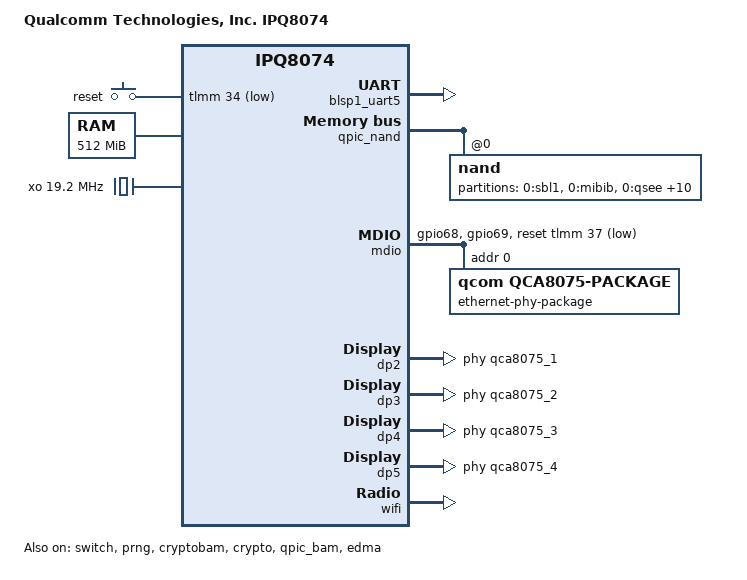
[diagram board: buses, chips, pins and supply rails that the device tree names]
// SPDX-License-Identifier: GPL-2.0-or-later OR MIT
/* Copyright (c) 2021, Robert Marko <robimarko@gmail.com> */

#include <dt-bindings/gpio/gpio.h>
#include <dt-bindings/input/input.h>

/ {
	#address-cells = <2>;
	#size-cells = <2>;

	model = "Qualcomm Technologies, Inc. IPQ8074";
	compatible = "qcom,ipq8074";
	interrupt-parent = <&intc>;

	aliases {
		serial0 = &blsp1_uart5;
		led-boot = &led_system_yellow;
		led-failsafe = &led_system_yellow;
		led-running = &led_system_blue;
		led-upgrade = &led_system_yellow;
		label-mac-device = &dp2;
	};

	chosen {
		stdout-path = "serial0:115200n8";
		bootargs-append = " ubi.mtd=rootfs root=/dev/ubiblock0_1 rootfstype=squashfs rootwait";
	};

	keys {
		compatible = "gpio-keys";
		reset {
			label = "reset";
			gpios = <&tlmm 34 GPIO_ACTIVE_LOW>;
			linux,code = <KEY_RESTART>;
		};
	};

	memory@40000000 {
		device_type = "memory";
		reg = <0x0 0x40000000 0x0 0x20000000>;
	};

	reserved-memory {
		#address-cells = <2>;
		#size-cells = <2>;
		ranges;

		nss_reserved: nss@40000000 {
			reg = <0x0 0x40000000 0x0 0x1000000>;
			no-map;
		};

		tzapp: tzapp@4a400000 {
			reg = <0x0 0x4a400000 0x0 0x100000>;
			no-map;
		};

		bootloader: bootloader@4a600000 {
			reg = <0x0 0x4a600000 0x0 0x400000>;
			no-map;
		};

		sbl: sbl@4aa00000 {
			reg = <0x0 0x4aa00000 0x0 0x100000>;
			no-map;
		};

		smem: smem@4ab00000 {
			reg = <0x0 0x4ab00000 0x0 0x100000>;
			no-map;
		};

		memory@4ac00000 {
			reg = <0x0 0x4ac00000 0x0 0x400000>;
			no-map;
		};

		wcnss: wcnss@4b000000 {
			reg = <0x0 0x4b000000 0x0 0x3700000>;
			no-map;
		};

		q6_etr_dump: q6_etr_dump@4e700000 {
			reg = <0x0 0x4e700000 0x0 0x100000>;
			no-map;
		};

		m3_dump: m3_dump@4e800000 {
			reg = <0x0 0x4e800000 0x0 0x100000>;
			no-map;
		};
	};

	cpus {
		#address-cells = <1>;
		#size-cells = <0>;

		cpu@0 {
			device_type = "cpu";
			compatible = "arm,cortex-a53";
			reg = <0x0>;
			enable-method = "psci";
			next-level-cache = <&L2_0>;
		};

		cpu@1 {
			device_type = "cpu";
			compatible = "arm,cortex-a53";
			reg = <0x1>;
			enable-method = "psci";
			next-level-cache = <&L2_0>;
		};

		cpu@2 {
			device_type = "cpu";
			compatible = "arm,cortex-a53";
			reg = <0x2>;
			enable-method = "psci";
			next-level-cache = <&L2_0>;
		};

		cpu@3 {
			device_type = "cpu";
			compatible = "arm,cortex-a53";
			reg = <0x3>;
			enable-method = "psci";
			next-level-cache = <&L2_0>;
		};

		L2_0: l2-cache {
			compatible = "cache";
			cache-level = <2>;
		};
	};

	psci {
		compatible = "arm,psci-1.0";
		method = "smc";
	};

	clocks {
		xo: xo {
			compatible = "fixed-clock";
			clock-frequency = <19200000>;
			#clock-cells = <0>;
		};

		sleep_clk: sleep_clk {
			compatible = "fixed-clock";
			clock-frequency = <32000>;
			#clock-cells = <0>;
		};
	};

	timer {
		compatible = "arm,armv8-timer";
		interrupts = <1 2 0xf08>,
			     <1 3 0xf08>,
			     <1 4 0xf08>,
			     <1 1 0xf08>;
	};

	soc: soc@0 {
		#address-cells = <1>;
		#size-cells = <1>;
		ranges = <0 0 0 0xffffffff>;
		compatible = "simple-bus";

		intc: interrupt-controller@b000000 {
			compatible = "qcom,msm-qgic2";
			interrupt-controller;
			#interrupt-cells = <3>;
			reg = <0x0b000000 0x1000>,
			      <0x0b002000 0x1000>;
		};

		timer@b120000 {
			compatible = "arm,armv7-timer-mem";
			#address-cells = <1>;
			#size-cells = <1>;
			ranges;
			reg = <0x0b120000 0x1000>;
			clock-frequency = <19200000>;

			frame@b120000 {
				frame-number = <0>;
				interrupts = <0 8 4>,
					     <0 7 4>;
				reg = <0x0b121000 0x1000>,
				      <0x0b122000 0x1000>;
			};
		};

		apcs_glb: mailbox@b111000 {
			compatible = "qcom,ipq6018-apcs-apps-global";
			reg = <0x0b111000 0x1000>;
			#clock-cells = <1>;
			clocks = <&xo>;
			clock-names = "xo";
		};

		blsp1_uart5: serial@78b3000 {
			compatible = "qcom,msm-uartdm-v1.4", "qcom,msm-uartdm";
			reg = <0x078b3000 0x200>;
			interrupts = <0 308 4>;
			clocks = <&gcc GCC_BLSP1_UART3_APPS_CLK>,
				 <&gcc GCC_BLSP1_AHB_CLK>;
			clock-names = "core", "iface";
			status = "disabled";
		};

		prng: rng@22000 {
			compatible = "qcom,prng";
			reg = <0x00022000 0x200>;
			clocks = <&gcc GCC_PRNG_AHB_CLK>;
			clock-names = "core";
			status = "disabled";
		};

		cryptobam: dma-controller@704000 {
			compatible = "qcom,bam-v1.7.0";
			reg = <0x00704000 0x20000>;
			interrupts = <0 207 4>;
			#dma-cells = <1>;
			qcom,ee = <1>;
			qcom,controlled-remotely;
			status = "disabled";
		};

		crypto: crypto@73a000 {
			compatible = "qcom,crypto-v5.1";
			reg = <0x0073a000 0x6000>;
			clocks = <&gcc GCC_CRYPTO_AHB_CLK>,
				 <&gcc GCC_CRYPTO_AXI_CLK>,
				 <&gcc GCC_CRYPTO_CLK>;
			clock-names = "iface", "bus", "core";
			dmas = <&cryptobam 2>, <&cryptobam 3>;
			dma-names = "rx", "tx";
			status = "disabled";
		};

		qpic_bam: dma-controller@7984000 {
			compatible = "qcom,bam-v1.7.0";
			reg = <0x07984000 0x1a000>;
			interrupts = <0 286 4>;
			#dma-cells = <1>;
			qcom,ee = <1>;
			qcom,controlled-remotely;
			status = "disabled";
		};

		qpic_nand: nand-controller@79b0000 {
			compatible = "qcom,ipq8074-nand";
			reg = <0x079b0000 0x10000>;
			#address-cells = <1>;
			#size-cells = <0>;
			clocks = <&gcc GCC_QPIC_CLK>,
				 <&gcc GCC_QPIC_AHB_CLK>;
			clock-names = "core", "aon";
			dmas = <&qpic_bam 0>,
			       <&qpic_bam 1>,
			       <&qpic_bam 2>;
			dma-names = "tx", "rx", "cmd";
			status = "disabled";
		};

		mdio: mdio@90000 {
			compatible = "qcom,ipq8074-mdio";
			reg = <0x00090000 0x64>;
			#address-cells = <1>;
			#size-cells = <0>;
			status = "disabled";
		};

		edma: edma@3a001000 {
			compatible = "qcom,ipq8074-edma";
			reg = <0x3a001000 0x8000>;
			reg-names = "edma";
			interrupts = <0 189 4>,
				     <0 190 4>,
				     <0 191 4>,
				     <0 192 4>;
			interrupt-names = "rx0", "rx1", "tx0", "tx1";
			clocks = <&gcc GCC_EDMA_CLK>,
				 <&gcc GCC_EDMA_AXI_CLK>;
			clock-names = "core", "axi";
			resets = <&gcc GCC_EDMA_RESET>;
			reset-names = "edma";
			status = "disabled";
		};

		ess-switch@3a000000 {
			compatible = "qcom,ipq8074-ess-switch";
			reg = <0x3a000000 0x1000000>;
			reg-names = "core";
			interrupts-extended = <&intc 0 188 4>;
			interrupt-names = "macirq";
			clocks = <&gcc GCC_CMN_12GPLL_AHB_CLK>,
				 <&gcc GCC_CMN_12GPLL_SYS_CLK>;
			clock-names = "ahb", "sys";
			resets = <&gcc GCC_ESS_RESET>;
			reset-names = "ess";
			qcom,mdio = <&mdio>;
			#address-cells = <1>;
			#size-cells = <0>;
			status = "disabled";

			switch-cpu@0 {
				compatible = "qcom,ess-switch-cpu";
				reg = <0>;
			};

			switch-cpu@1 {
				compatible = "qcom,ess-switch-cpu";
				reg = <1>;
			};
		};
	};
};

&blsp1_uart5 {
	status = "okay";
};

&prng {
	status = "okay";
};

&cryptobam {
	status = "okay";
};

&crypto {
	status = "okay";
};

&qpic_bam {
	status = "okay";
};

&tlmm {
	mdio_pins: mdio-pins {
		mdc {
			pins = "gpio68";
			function = "mdc";
			drive-strength = <8>;
			bias-pull-up;
		};

		mdio {
			pins = "gpio69";
			function = "mdio";
			drive-strength = <8>;
			bias-pull-up;
		};
	};
};

&qpic_nand {
	status = "okay";

	nand@0 {
		reg = <0>;
		nand-ecc-strength = <4>;
		nand-ecc-step-size = <512>;
		nand-bus-width = <8>;

		partitions {
			compatible = "fixed-partitions";
			#address-cells = <1>;
			#size-cells = <1>;

			partition@0 {
				label = "0:sbl1";
				reg = <0x0 0x100000>;
				read-only;
			};

			partition@100000 {
				label = "0:mibib";
				reg = <0x100000 0x100000>;
				read-only;
			};

			partition@200000 {
				label = "0:qsee";
				reg = <0x200000 0x300000>;
				read-only;
			};

			partition@500000 {
				label = "0:devcfg";
				reg = <0x500000 0x80000>;
				read-only;
			};

			partition@580000 {
				label = "0:rpm";
				reg = <0x580000 0x80000>;
				read-only;
			};

			partition@600000 {
				label = "0:cdt";
				reg = <0x600000 0x80000>;
				read-only;
			};

			partition@680000 {
				label = "0:appsblenv";
				reg = <0x680000 0x80000>;
			};

			partition@700000 {
				label = "0:appsbl";
				reg = <0x700000 0x100000>;
				read-only;
			};

			partition@800000 {
				label = "0:art";
				reg = <0x800000 0x80000>;
				read-only;

				nvmem-layout {
					compatible = "fixed-layout";
					#address-cells = <1>;
					#size-cells = <1>;

					macaddr_dp2: macaddr@6 {
						reg = <0x6 0x6>;
					};

					macaddr_dp3: macaddr@c {
						reg = <0xc 0x6>;
					};

					macaddr_dp4: macaddr@12 {
						reg = <0x12 0x6>;
					};

					macaddr_dp5: macaddr@18 {
						reg = <0x18 0x6>;
					};
				};
			};

			partition@880000 {
				label = "bdata";
				reg = <0x880000 0x80000>;
			};

			partition@900000 {
				label = "pstore";
				reg = <0x900000 0x100000>;
			};

			partition@a00000 {
				label = "rootfs";
				reg = <0xa00000 0xf600000>;
				compatible = "openwrt,ubi";
			};

			partition@fa00000 {
				label = "rsvd0";
				reg = <0xfa00000 0x80000>;
				read-only;
			};
		};
	};
};

&mdio {
	status = "okay";
	pinctrl-0 = <&mdio_pins>;
	pinctrl-names = "default";
	reset-gpios = <&tlmm 37 GPIO_ACTIVE_LOW>;

	ethernet-phy-package@0 {
		#address-cells = <1>;
		#size-cells = <0>;
		compatible = "qcom,qca8075-package";
		reg = <0>;

		qca8075_1: ethernet-phy@1 {
			compatible = "ethernet-phy-ieee802.3-c22";
			reg = <1>;
		};

		qca8075_2: ethernet-phy@2 {
			compatible = "ethernet-phy-ieee802.3-c22";
			reg = <2>;
		};

		qca8075_3: ethernet-phy@3 {
			compatible = "ethernet-phy-ieee802.3-c22";
			reg = <3>;
		};

		qca8075_4: ethernet-phy@4 {
			compatible = "ethernet-phy-ieee802.3-c22";
			reg = <4>;
		};
	};
};

&switch {
	status = "okay";
	switch_lan_bmp = <(3 | 4 | 5)>;
	switch_wan_bmp = <2>;
	switch_mac_mode = <0>;

	qcom,port_phyinfo {
		port@2 {
			port_id = <2>;
			phy_address = <1>;
		};
		port@3 {
			port_id = <3>;
			phy_address = <2>;
		};
		port@4 {
			port_id = <4>;
			phy_address = <3>;
		};
		port@5 {
			port_id = <5>;
			phy_address = <4>;
		};
	};
};

&edma {
	status = "okay";
};

&dp2 {
	status = "okay";
	phy-handle = <&qca8075_1>;
	label = "wan";
	nvmem-cells = <&macaddr_dp2>;
	nvmem-cell-names = "mac-address";
};

&dp3 {
	status = "okay";
	phy-handle = <&qca8075_2>;
	label = "lan1";
	nvmem-cells = <&macaddr_dp3>;
	nvmem-cell-names = "mac-address";
};

&dp4 {
	status = "okay";
	phy-handle = <&qca8075_3>;
	label = "lan2";
	nvmem-cells = <&macaddr_dp4>;
	nvmem-cell-names = "mac-address";
};

&dp5 {
	status = "okay";
	phy-handle = <&qca8075_4>;
	label = "lan3";
	nvmem-cells = <&macaddr_dp5>;
	nvmem-cell-names = "mac-address";
};

&wifi {
	status = "okay";
	qcom,ath11k-fw-memory-mode = <2>;
};
